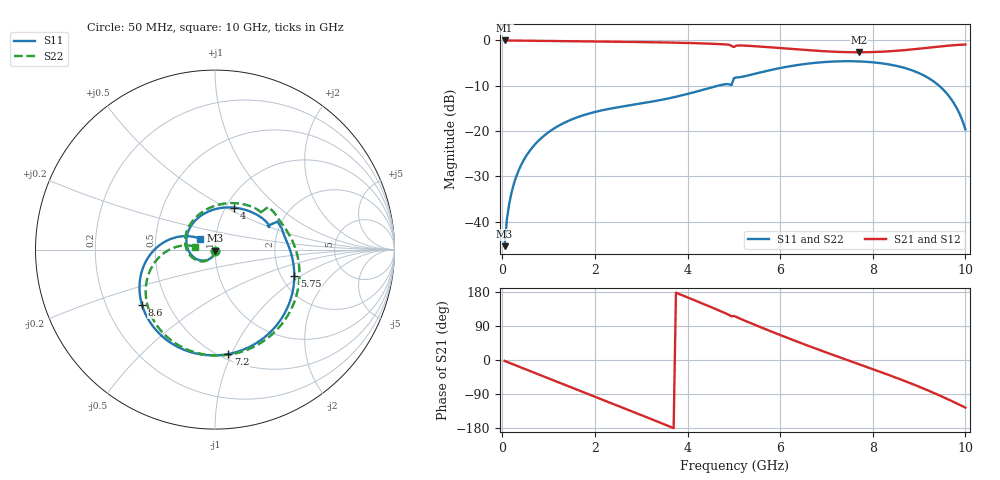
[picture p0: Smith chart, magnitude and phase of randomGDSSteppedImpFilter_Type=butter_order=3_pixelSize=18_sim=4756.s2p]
! freq	dB(S11)	phase(S11)	dB(S12)	phase(S12)
!  dB(S21)	phase(S21)	dB(S22)	phase(S22)
!S-par simulation data
#  GHz  S  DB  R 50
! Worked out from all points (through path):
!   200 points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, 50 MHz to 10 GHz, reference 50 ohm
!   highest |S21| = 0.00 dB at 50 MHz (marker M1); lowest = -2.6 dB at 7.7 GHz (marker M2)
!   group delay of S21, straight-line fit = 134 ps
!   lowest |S11| = -45.4 dB at 50 MHz (marker M3), VSWR 1.01, Z = 50 - j0.536 ohm
!   |S11| at or under -10 dB: start of sweep to 4.655 GHz; 9.432 GHz to end of sweep
!   |S22| runs from -45.4 to -4.6 dB; largest |S21 - S12| = 0
!   S11 on the Smith chart (normalised r, x): 50 MHz: 1.00, -0.01; 4 GHz: 1.09, +0.55; 5.75 GHz: 2.35, -0.88; 7.2 GHz: 0.55, -0.97; 8.6 GHz: 0.36, -0.30; 10 GHz: 0.84, +0.10
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0.05  -45.41 -92.5  -0.00 -2.5  -0.00 -2.5  -45.43 -92.5
0.1  -39.43 -94.2  -0.01 -4.9  -0.01 -4.9  -39.40 -93.9
0.2  -33.57 -99.8  -0.02 -9.8  -0.02 -9.8  -33.56 -99.1
0.5  -25.77 -115.7  -0.04 -24.3  -0.04 -24.3  -25.77 -113.9
1.15  -19.23 -149.0  -0.12 -55.7  -0.12 -55.7  -19.23 -144.6
1.75  -16.51 -179.4  -0.19 -84.7  -0.19 -84.7  -16.52 -172.3
2.5  -14.75 142.1  -0.29 -120.9  -0.29 -120.9  -14.76 153.2
3.4  -13.19 95.9  -0.42 -164.9  -0.42 -164.9  -13.22 111.3
4  -11.81 65.7  -0.56 165.2  -0.56 165.2  -11.84 82.1
4.6  -10.15 36.0  -0.76 134.9  -0.76 134.9  -10.17 51.9
4.95  -9.85 24.3  -1.22 115.2  -1.22 115.2  -9.84 39.2
5.05  -8.16 17.1  -1.16 113.9  -1.16 113.9  -8.18 31.6
5.75  -6.64 -18.4  -1.49 78.1  -1.49 78.1  -6.65 -6.1
6.7  -5.00 -61.2  -2.23 33.2  -2.23 33.2  -5.00 -51.3
7.2  -4.64 -82.7  -2.51 10.8  -2.51 10.8  -4.63 -73.6
7.7  -4.63 -103.7  -2.61 -11.0  -2.61 -11.0  -4.62 -95.1
8.35  -5.29 -131.5  -2.40 -39.7  -2.40 -39.7  -5.27 -122.9
8.6  -5.83 -142.6  -2.21 -51.2  -2.21 -51.2  -5.81 -133.8
9.05  -7.46 -163.8  -1.77 -73.0  -1.77 -73.0  -7.42 -154.0
9.5  -10.64 172.8  -1.28 -96.7  -1.28 -96.7  -10.57 -174.7
9.8  -14.69 155.9  -1.01 -113.8  -1.01 -113.8  -14.50 173.5
10  -19.63 144.0  -0.90 -125.6  -0.90 -125.6  -19.01 171.2
